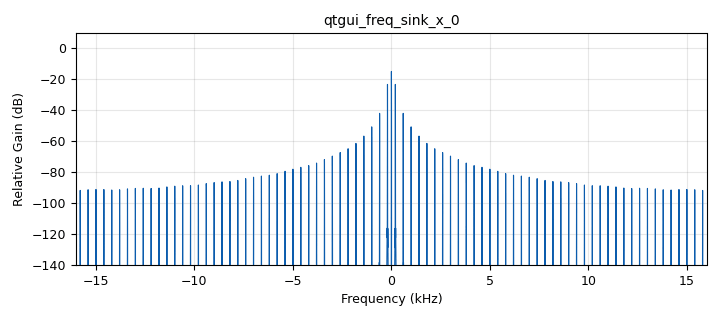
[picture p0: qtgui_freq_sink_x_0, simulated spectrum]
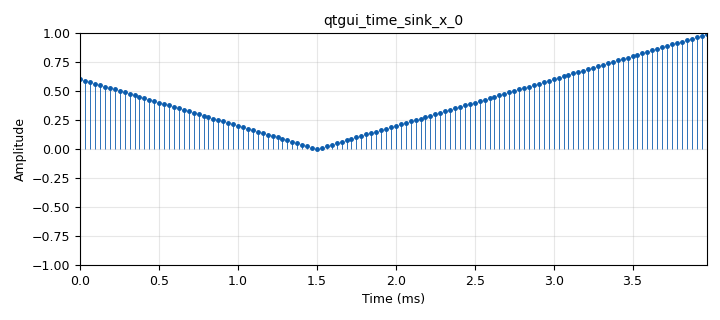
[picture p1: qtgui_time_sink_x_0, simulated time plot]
options:
  parameters:
    author: JuanJose_MoralesHernandez_LuisFernando_RomeroRojas_L1C_G4
    generate_options: qt_gui
    id: Lab1b
    output_language: python
    title: Lab1_B_punto1
  states: {}

blocks:
- name: freq
  id: variable_qtgui_range
  parameters:
    label: Frequency
    start: '100'
    step: '100'
    stop: '40000'
    value: '200'
  states: {}
- name: samp_rate
  id: variable
  parameters:
    value: '32000'
  states: {}
- name: analog_sig_source_x_0
  id: analog_sig_source_x
  parameters:
    amp: '1'
    freq: freq
    offset: '0'
    phase: '0'
    samp_rate: samp_rate
    type: float
    waveform: analog.GR_TRI_WAVE
  states: {}
- name: blocks_throttle_0
  id: blocks_throttle
  parameters:
    samples_per_second: samp_rate
    type: float
  states: {}
- name: qtgui_freq_sink_x_0
  id: qtgui_freq_sink_x
  parameters:
    bw: samp_rate
    fc: '0'
    fftsize: '16384'
    type: float
  states: {}
- name: qtgui_time_sink_x_0
  id: qtgui_time_sink_x
  parameters:
    size: '128'
    srate: samp_rate
    stemplot: 'True'
    type: float
  states: {}

connections:
- [analog_sig_source_x_0, '0', blocks_throttle_0, '0']
- [blocks_throttle_0, '0', qtgui_freq_sink_x_0, '0']
- [blocks_throttle_0, '0', qtgui_time_sink_x_0, '0']

metadata:
  file_format: 1
  grc_version: 3.10.5.1
